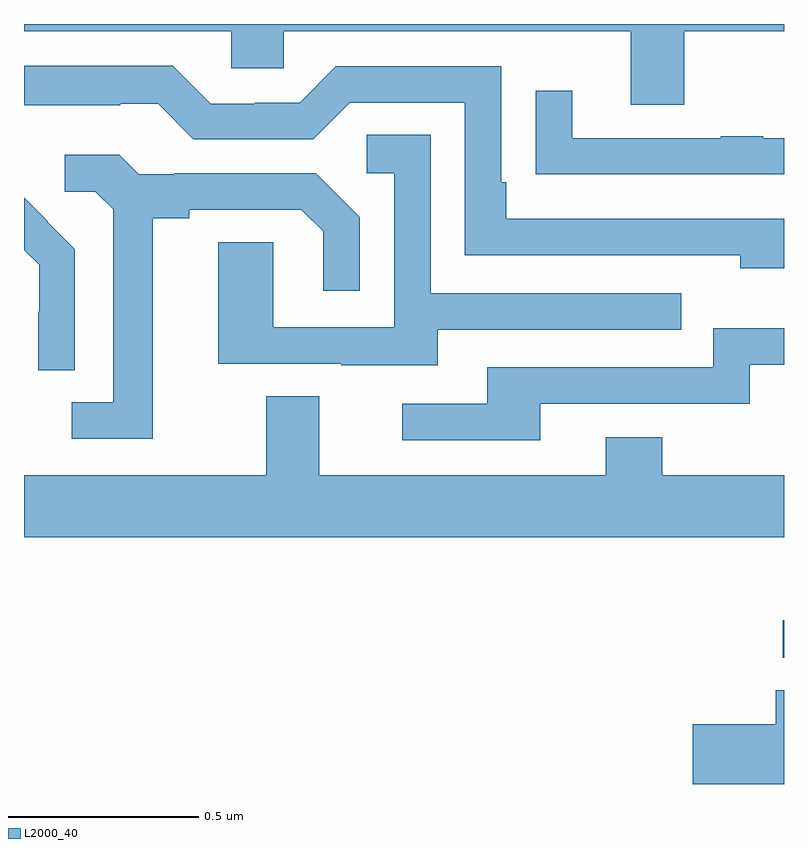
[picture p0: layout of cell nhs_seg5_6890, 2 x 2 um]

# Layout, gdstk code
import gdstk
lib = gdstk.Library(unit=1e-6, precision=1e-09)
def R(c, l, rs):  # rectangles x0, y0, x1, y1
    for r in rs: c.add(gdstk.rectangle(r[:2], r[2:], *l))
def P(c, l, *ps):  # polygons
    for p in ps: c.add(gdstk.Polygon(p, *l))
L2000_40 = (2000, 40)

nhs_seg5_6890 = lib.new_cell('nhs_seg5_6890')
R(nhs_seg5_6890, L2000_40, [(203.997,835.131,204,835.23)])
P(nhs_seg5_6890, L2000_40, [(203.737,836.78),(204,836.78),(204,836.799),(202,836.799),(202,836.78),(202.545,836.78),(202.545,836.682),(202.683,836.682),(202.683,836.78),(203.597,836.78),(203.597,836.586),(203.737,836.586)],
  [(204,836.286),(203.269,836.286),(203.269,836.383),(203.256,836.383),(203.256,836.688),(202.821,836.688),(202.725,836.592),(202.607,836.592),(202.607,836.589),(202.491,836.589),(202.391,836.689),(202,836.689),(202,836.585),(202.253,836.585),(202.253,836.589),(202.353,836.589),(202.446,836.496),(202.761,836.496),(202.857,836.592),(203.16,836.592),(203.16,836.19),(203.885,836.19),(203.885,836.156),(204,836.156)],
  [(204,836.499),(203.945,836.499),(203.945,836.504),(203.833,836.504),(203.833,836.499),(203.443,836.499),(203.443,836.623),(203.347,836.623),(203.347,836.404),(203.449,836.404),(203.449,836.403),(204,836.403)],
  [(203.089,835.995),(203.729,835.995),(203.729,836.091),(203.07,836.091),(203.07,836.507),(202.902,836.507),(202.902,836.406),(202.974,836.406),(202.974,836.001),(202.656,836.001),(202.656,836.225),(202.511,836.225),(202.511,835.905),(202.835,835.905),(202.835,835.901),(203.089,835.901)],
  [(202.339,836.288),(202.435,836.288),(202.435,836.31),(202.73,836.31),(202.787,836.253),(202.787,836.097),(202.884,836.097),(202.884,836.29),(202.768,836.406),(202.396,836.406),(202.396,836.403),(202.302,836.403),(202.25,836.455),(202.107,836.455),(202.107,836.358),(202.188,836.358),(202.235,836.311),(202.235,835.803),(202.125,835.803),(202.125,835.707),(202.339,835.707)],
  [(202.134,836.206),(202.061,836.279),(202.062,836.28),(202,836.342),(202,836.204),(202.04,836.165),(202.04,836.042),(202.038,836.042),(202.038,835.888),(202.134,835.888)],
  [(203.359,835.8),(203.91,835.8),(203.91,835.902),(204,835.902),(204,835.999),(203.814,835.999),(203.814,835.896),(203.219,835.896),(203.219,835.8),(202.995,835.8),(202.995,835.704),(203.359,835.704)],
  [(204,835.612),(203.679,835.612),(203.679,835.711),(203.531,835.711),(203.531,835.612),(202.777,835.612),(202.777,835.82),(202.637,835.82),(202.637,835.612),(202,835.612),(202,835.448),(204,835.448)],
  [(204,835.046),(203.978,835.046),(203.978,834.956),(203.76,834.956),(203.76,834.799),(204,834.799)])

lib.write_gds('nhs_seg5_6890.gds')
